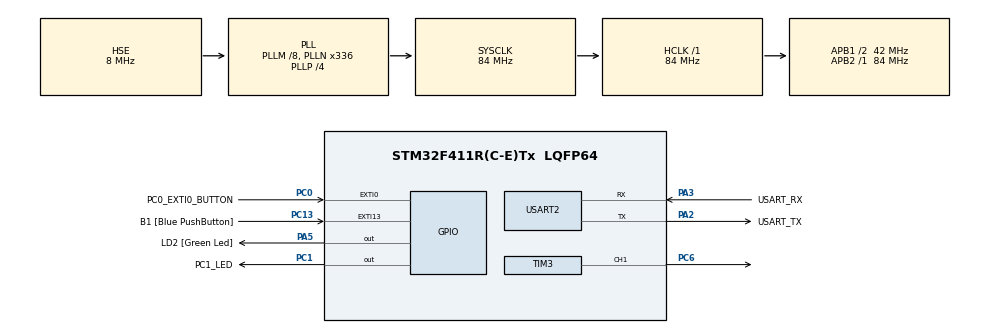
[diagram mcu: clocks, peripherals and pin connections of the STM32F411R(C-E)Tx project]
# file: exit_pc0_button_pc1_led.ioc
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Mcu.Family=STM32F4
Mcu.Name=STM32F411R(C-E)Tx
Mcu.Package=LQFP64
NVIC.EXTI0_IRQn=true\:0\:0\:false\:false\:true\:true\:true\:true
NVIC.PriorityGroup=NVIC_PRIORITYGROUP_0
NVIC.TIM3_IRQn=true\:0\:0\:false\:false\:true\:true\:true\:true
PA13.GPIO_Label=TMS
PA13.Mode=Serial_Wire
PA13.Signal=SYS_JTMS-SWDIO
PA14.GPIO_Label=TCK
PA14.Mode=Serial_Wire
PA14.Signal=SYS_JTCK-SWCLK
PA2.GPIO_Label=USART_TX
PA2.Mode=Asynchronous
PA2.Signal=USART2_TX
PA3.GPIO_Label=USART_RX
PA3.Mode=Asynchronous
PA3.Signal=USART2_RX
PA5.GPIO_Label=LD2 [Green Led]
PA5.Signal=GPIO_Output
PB3.GPIO_Label=SWO
PB3.Signal=SYS_JTDO-SWO
PC0.GPIO_Label=PC0_EXTI0_BUTTON
PC0.Signal=GPXTI0
PC1.GPIO_Label=PC1_LED
PC1.Signal=GPIO_Output
PC13-ANTI_TAMP.GPIO_Label=B1 [Blue PushButton]
PC13-ANTI_TAMP.GPIO_ModeDefaultEXTI=GPIO_MODE_IT_FALLING
PC13-ANTI_TAMP.Signal=GPXTI13
PC14-OSC32_IN.Mode=LSE-External-Oscillator
PC14-OSC32_IN.Signal=RCC_OSC32_IN
PC15-OSC32_OUT.Mode=LSE-External-Oscillator
PC15-OSC32_OUT.Signal=RCC_OSC32_OUT
PC6.Signal=S_TIM3_CH1
PH0\ -\ OSC_IN.Mode=HSE-External-Clock-Source
PH0\ -\ OSC_IN.Signal=RCC_OSC_IN
PH1\ -\ OSC_OUT.Mode=HSE-External-Clock-Source
PH1\ -\ OSC_OUT.Signal=RCC_OSC_OUT
ProjectManager.HeapSize=0x200
ProjectManager.StackSize=0x400
ProjectManager.TargetToolchain=STM32CubeIDE
RCC.48MHZClocksFreq_Value=84000000
RCC.AHBFreq_Value=84000000
RCC.APB1CLKDivider=RCC_HCLK_DIV2
RCC.APB1Freq_Value=42000000
RCC.APB1TimFreq_Value=84000000
RCC.APB2Freq_Value=84000000
RCC.APB2TimFreq_Value=84000000
RCC.CortexFreq_Value=84000000
RCC.FLatency-AdvancedSettings=FLASH_LATENCY_2
RCC.HCLKFreq_Value=84000000
RCC.HSE_VALUE=8000000
RCC.HSI_VALUE=16000000
RCC.PLLM=8
RCC.PLLN=336
RCC.PLLP=RCC_PLLP_DIV4
RCC.PLLSourceVirtual=RCC_PLLSOURCE_HSE
RCC.SYSCLKFreq_VALUE=84000000
RCC.SYSCLKSource=RCC_SYSCLKSOURCE_PLLCLK
RCC.VCOOutputFreq_Value=336000000
SH.S_TIM3_CH1.0=TIM3_CH1,PWM Generation1 CH1
TIM3.AutoReloadPreload=TIM_AUTORELOAD_PRELOAD_ENABLE
TIM3.Channel-PWM\ Generation1\ CH1=TIM_CHANNEL_1
TIM3.Period=1000-1
TIM3.Prescaler=84-1
TIM3.Pulse-PWM\ Generation1\ CH1=100
USART2.VirtualMode=VM_ASYNC
VP_TIM3_VS_ClockSourceINT.Mode=Internal
board=NUCLEO-F411RE

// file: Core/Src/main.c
/* USER CODE BEGIN Header */
/**
  ******************************************************************************
  * @file           : main.c
  * @brief          : Main program body
  ******************************************************************************
  * @attention
  *
  * Copyright (c) 2025 STMicroelectronics.
  * All rights reserved.
  *
  * This software is licensed under terms that can be found in the LICENSE file
  * in the root directory of this software component.
  * If no LICENSE file comes with this software, it is provided AS-IS.
  *
  ******************************************************************************
  */
/* USER CODE END Header */
#include "main.h"

/* USER CODE BEGIN Includes */
#include <stdio.h>
/* USER CODE END Includes */

/* USER CODE BEGIN PD */
#ifdef __GNUC__
/* With GCC, small printf (option LD Linker->Libraries->Small printf
   set to 'Yes') calls __io_putchar() */
#define PUTCHAR_PROTOTYPE int __io_putchar(int ch)
#else
#define PUTCHAR_PROTOTYPE int fputc(int ch, FILE *f)
#endif /* __GNUC__ */
/* USER CODE END PD */

TIM_HandleTypeDef htim3;

UART_HandleTypeDef huart2;

/* USER CODE BEGIN PV */
volatile uint8_t keyNo;
volatile int time3IntFlagSec;
volatile unsigned int time3Sec;
/* USER CODE END PV */

void SystemClock_Config(void);
static void MX_GPIO_Init(void);
static void MX_USART2_UART_Init(void);
static void MX_TIM3_Init(void);

int main(void)
{

  /* MCU Configuration--------------------------------------------------------*/

  /* Reset of all peripherals, Initializes the Flash interface and the Systick. */
  HAL_Init();

  /* Configure the system clock */
  SystemClock_Config();

  /* Initialize all configured peripherals */
  MX_GPIO_Init();
  MX_USART2_UART_Init();
  MX_TIM3_Init();
  /* USER CODE BEGIN 2 */
  if (HAL_TIM_Base_Start_IT(&htim3)!= HAL_OK)
  {
	  Error_Handler();
  }
  if (HAL_TIM_PWM_Start(&htim3, TIM_CHANNEL_1)!= HAL_OK)
  {
  	  Error_Handler();
  }
  /* USER CODE END 2 */

  /* Infinite loop */
  /* USER CODE BEGIN WHILE */
  while (1)
  {
	  if (keyNo == 1)
	  {
		  HAL_GPIO_TogglePin(PC1_LED_GPIO_Port,PC1_LED_Pin);
		  keyNo=0;
	  }
	  if (time3IntFlagSec)
	  {
		  printf("%u\r\n",time3Sec);
		  time3IntFlagSec = 0;
	  }

    /* USER CODE END WHILE */

  }
}

void SystemClock_Config(void)
{
  RCC_OscInitTypeDef RCC_OscInitStruct = {0};
  RCC_ClkInitTypeDef RCC_ClkInitStruct = {0};

  /** Configure the main internal regulator output voltage
  */
  __HAL_RCC_PWR_CLK_ENABLE();
  __HAL_PWR_VOLTAGESCALING_CONFIG(PWR_REGULATOR_VOLTAGE_SCALE1);

  /** Initializes the RCC Oscillators according to the specified parameters
  * in the RCC_OscInitTypeDef structure.
  */
  RCC_OscInitStruct.OscillatorType = RCC_OSCILLATORTYPE_HSE;
  RCC_OscInitStruct.HSEState = RCC_HSE_BYPASS;
  RCC_OscInitStruct.PLL.PLLState = RCC_PLL_ON;
  RCC_OscInitStruct.PLL.PLLSource = RCC_PLLSOURCE_HSE;
  RCC_OscInitStruct.PLL.PLLM = 8;
  RCC_OscInitStruct.PLL.PLLN = 336;
  RCC_OscInitStruct.PLL.PLLP = RCC_PLLP_DIV4;
  RCC_OscInitStruct.PLL.PLLQ = 4;
  if (HAL_RCC_OscConfig(&RCC_OscInitStruct) != HAL_OK)
  {
    Error_Handler();
  }

  /** Initializes the CPU, AHB and APB buses clocks
  */
  RCC_ClkInitStruct.ClockType = RCC_CLOCKTYPE_HCLK|RCC_CLOCKTYPE_SYSCLK
                              |RCC_CLOCKTYPE_PCLK1|RCC_CLOCKTYPE_PCLK2;
  RCC_ClkInitStruct.SYSCLKSource = RCC_SYSCLKSOURCE_PLLCLK;
  RCC_ClkInitStruct.AHBCLKDivider = RCC_SYSCLK_DIV1;
  RCC_ClkInitStruct.APB1CLKDivider = RCC_HCLK_DIV2;
  RCC_ClkInitStruct.APB2CLKDivider = RCC_HCLK_DIV1;

  if (HAL_RCC_ClockConfig(&RCC_ClkInitStruct, FLASH_LATENCY_2) != HAL_OK)
  {
    Error_Handler();
  }
}

static void MX_TIM3_Init(void)
{

  TIM_ClockConfigTypeDef sClockSourceConfig = {0};
  TIM_MasterConfigTypeDef sMasterConfig = {0};
  TIM_OC_InitTypeDef sConfigOC = {0};

  htim3.Instance = TIM3;
  htim3.Init.Prescaler = 84-1;
  htim3.Init.CounterMode = TIM_COUNTERMODE_UP;
  htim3.Init.Period = 1000-1;
  htim3.Init.ClockDivision = TIM_CLOCKDIVISION_DIV1;
  htim3.Init.AutoReloadPreload = TIM_AUTORELOAD_PRELOAD_ENABLE;
  if (HAL_TIM_Base_Init(&htim3) != HAL_OK)
  {
    Error_Handler();
  }
  sClockSourceConfig.ClockSource = TIM_CLOCKSOURCE_INTERNAL;
  if (HAL_TIM_ConfigClockSource(&htim3, &sClockSourceConfig) != HAL_OK)
  {
    Error_Handler();
  }
  if (HAL_TIM_PWM_Init(&htim3) != HAL_OK)
  {
    Error_Handler();
  }
  sMasterConfig.MasterOutputTrigger = TIM_TRGO_RESET;
  sMasterConfig.MasterSlaveMode = TIM_MASTERSLAVEMODE_DISABLE;
  if (HAL_TIMEx_MasterConfigSynchronization(&htim3, &sMasterConfig) != HAL_OK)
  {
    Error_Handler();
  }
  sConfigOC.OCMode = TIM_OCMODE_PWM1;
  sConfigOC.Pulse = 100;
  sConfigOC.OCPolarity = TIM_OCPOLARITY_HIGH;
  sConfigOC.OCFastMode = TIM_OCFAST_DISABLE;
  if (HAL_TIM_PWM_ConfigChannel(&htim3, &sConfigOC, TIM_CHANNEL_1) != HAL_OK)
  {
    Error_Handler();
  }
  HAL_TIM_MspPostInit(&htim3);

}

static void MX_USART2_UART_Init(void)
{

  huart2.Instance = USART2;
  huart2.Init.BaudRate = 115200;
  huart2.Init.WordLength = UART_WORDLENGTH_8B;
  huart2.Init.StopBits = UART_STOPBITS_1;
  huart2.Init.Parity = UART_PARITY_NONE;
  huart2.Init.Mode = UART_MODE_TX_RX;
  huart2.Init.HwFlowCtl = UART_HWCONTROL_NONE;
  huart2.Init.OverSampling = UART_OVERSAMPLING_16;
  if (HAL_UART_Init(&huart2) != HAL_OK)
  {
    Error_Handler();
  }

}

static void MX_GPIO_Init(void)
{
  GPIO_InitTypeDef GPIO_InitStruct = {0};

  /* GPIO Ports Clock Enable */
  __HAL_RCC_GPIOC_CLK_ENABLE();
  __HAL_RCC_GPIOH_CLK_ENABLE();
  __HAL_RCC_GPIOA_CLK_ENABLE();
  __HAL_RCC_GPIOB_CLK_ENABLE();

  /*Configure GPIO pin Output Level */
  HAL_GPIO_WritePin(PC1_LED_GPIO_Port, PC1_LED_Pin, GPIO_PIN_RESET);

  /*Configure GPIO pin Output Level */
  HAL_GPIO_WritePin(LD2_GPIO_Port, LD2_Pin, GPIO_PIN_RESET);

  /*Configure GPIO pin : B1_Pin */
  GPIO_InitStruct.Pin = B1_Pin;
  GPIO_InitStruct.Mode = GPIO_MODE_IT_FALLING;
  GPIO_InitStruct.Pull = GPIO_NOPULL;
  HAL_GPIO_Init(B1_GPIO_Port, &GPIO_InitStruct);

  /*Configure GPIO pin : PC0_EXTI0_BUTTON_Pin */
  GPIO_InitStruct.Pin = PC0_EXTI0_BUTTON_Pin;
  GPIO_InitStruct.Mode = GPIO_MODE_IT_RISING;
  GPIO_InitStruct.Pull = GPIO_NOPULL;
  HAL_GPIO_Init(PC0_EXTI0_BUTTON_GPIO_Port, &GPIO_InitStruct);

  /*Configure GPIO pin : PC1_LED_Pin */
  GPIO_InitStruct.Pin = PC1_LED_Pin;
  GPIO_InitStruct.Mode = GPIO_MODE_OUTPUT_PP;
  GPIO_InitStruct.Pull = GPIO_NOPULL;
  GPIO_InitStruct.Speed = GPIO_SPEED_FREQ_LOW;
  HAL_GPIO_Init(PC1_LED_GPIO_Port, &GPIO_InitStruct);

  /*Configure GPIO pin : LD2_Pin */
  GPIO_InitStruct.Pin = LD2_Pin;
  GPIO_InitStruct.Mode = GPIO_MODE_OUTPUT_PP;
  GPIO_InitStruct.Pull = GPIO_NOPULL;
  GPIO_InitStruct.Speed = GPIO_SPEED_FREQ_LOW;
  HAL_GPIO_Init(LD2_GPIO_Port, &GPIO_InitStruct);

  /* EXTI interrupt init*/
  HAL_NVIC_SetPriority(EXTI0_IRQn, 0, 0);
  HAL_NVIC_EnableIRQ(EXTI0_IRQn);

}

/* USER CODE BEGIN 4 */
/**
  * @brief  Retargets the C library printf function to the USART.
  * @param  None
  * @retval None
  */
PUTCHAR_PROTOTYPE
{
  /* Place your implementation of fputc here */
  /* e.g. write a character to the USART6 and Loop until the end of transmission */
  HAL_UART_Transmit(&huart2, (uint8_t *)&ch, 1, 0xFFFF);

  return ch;
}
void HAL_GPIO_EXTI_Callback(uint16_t GPIO_Pin)
{

	switch(GPIO_Pin)
	{
		case 1:
			keyNo = 1;
			break;

	}
}

void HAL_TIM_PeriodElapsedCallback(TIM_HandleTypeDef *htim)
{
	static int tim3cnt = 0;
	tim3cnt++;
	if (tim3cnt == 1000)
	{
		time3IntFlagSec = 1;
		time3Sec++;
		tim3cnt = 0;
	}
}
/* USER CODE END 4 */

void Error_Handler(void)
{
  __disable_irq();
  while (1)
  {
  }
}
